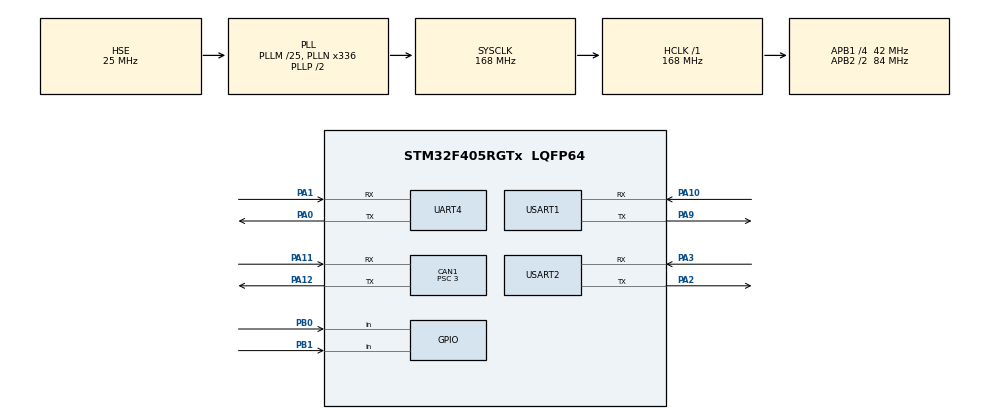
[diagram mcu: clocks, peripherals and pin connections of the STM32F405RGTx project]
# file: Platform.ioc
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CAN1.BS1=CAN_BS1_9TQ
CAN1.BS2=CAN_BS2_4TQ
CAN1.CalculateTimeQuantum=71.42857142857143
CAN1.Prescaler=3
Dma.Request0=USART1_RX
Dma.Request1=USART1_TX
Dma.Request2=UART4_RX
Dma.Request3=UART4_TX
Dma.Request4=USART2_RX
Dma.Request5=USART2_TX
Dma.UART4_RX.2.Direction=DMA_PERIPH_TO_MEMORY
Dma.UART4_RX.2.FIFOMode=DMA_FIFOMODE_DISABLE
Dma.UART4_RX.2.Instance=DMA1_Stream2
Dma.UART4_RX.2.MemDataAlignment=DMA_MDATAALIGN_BYTE
Dma.UART4_RX.2.MemInc=DMA_MINC_ENABLE
Dma.UART4_RX.2.Mode=DMA_NORMAL
Dma.UART4_RX.2.PeriphDataAlignment=DMA_PDATAALIGN_BYTE
Dma.UART4_RX.2.PeriphInc=DMA_PINC_DISABLE
Dma.UART4_RX.2.Priority=DMA_PRIORITY_LOW
Dma.UART4_TX.3.Direction=DMA_MEMORY_TO_PERIPH
Dma.UART4_TX.3.FIFOMode=DMA_FIFOMODE_DISABLE
Dma.UART4_TX.3.Instance=DMA1_Stream4
Dma.UART4_TX.3.MemDataAlignment=DMA_MDATAALIGN_BYTE
Dma.UART4_TX.3.MemInc=DMA_MINC_ENABLE
Dma.UART4_TX.3.Mode=DMA_NORMAL
Dma.UART4_TX.3.PeriphDataAlignment=DMA_PDATAALIGN_BYTE
Dma.UART4_TX.3.PeriphInc=DMA_PINC_DISABLE
Dma.UART4_TX.3.Priority=DMA_PRIORITY_LOW
Dma.USART1_RX.0.Direction=DMA_PERIPH_TO_MEMORY
Dma.USART1_RX.0.FIFOMode=DMA_FIFOMODE_DISABLE
Dma.USART1_RX.0.Instance=DMA2_Stream2
Dma.USART1_RX.0.MemDataAlignment=DMA_MDATAALIGN_BYTE
Dma.USART1_RX.0.MemInc=DMA_MINC_ENABLE
Dma.USART1_RX.0.Mode=DMA_NORMAL
Dma.USART1_RX.0.PeriphDataAlignment=DMA_PDATAALIGN_BYTE
Dma.USART1_RX.0.PeriphInc=DMA_PINC_DISABLE
Dma.USART1_RX.0.Priority=DMA_PRIORITY_LOW
Dma.USART1_TX.1.Direction=DMA_MEMORY_TO_PERIPH
Dma.USART1_TX.1.FIFOMode=DMA_FIFOMODE_DISABLE
Dma.USART1_TX.1.Instance=DMA2_Stream7
Dma.USART1_TX.1.MemDataAlignment=DMA_MDATAALIGN_BYTE
Dma.USART1_TX.1.MemInc=DMA_MINC_ENABLE
Dma.USART1_TX.1.Mode=DMA_NORMAL
Dma.USART1_TX.1.PeriphDataAlignment=DMA_PDATAALIGN_BYTE
Dma.USART1_TX.1.PeriphInc=DMA_PINC_DISABLE
Dma.USART1_TX.1.Priority=DMA_PRIORITY_LOW
Dma.USART2_RX.4.Direction=DMA_PERIPH_TO_MEMORY
Dma.USART2_RX.4.FIFOMode=DMA_FIFOMODE_DISABLE
Dma.USART2_RX.4.Instance=DMA1_Stream5
Dma.USART2_RX.4.MemDataAlignment=DMA_MDATAALIGN_BYTE
Dma.USART2_RX.4.MemInc=DMA_MINC_ENABLE
Dma.USART2_RX.4.Mode=DMA_CIRCULAR
Dma.USART2_RX.4.PeriphDataAlignment=DMA_PDATAALIGN_BYTE
Dma.USART2_RX.4.PeriphInc=DMA_PINC_DISABLE
Dma.USART2_RX.4.Priority=DMA_PRIORITY_LOW
Dma.USART2_TX.5.Direction=DMA_MEMORY_TO_PERIPH
Dma.USART2_TX.5.FIFOMode=DMA_FIFOMODE_DISABLE
Dma.USART2_TX.5.Instance=DMA1_Stream6
Dma.USART2_TX.5.MemDataAlignment=DMA_MDATAALIGN_BYTE
Dma.USART2_TX.5.MemInc=DMA_MINC_ENABLE
Dma.USART2_TX.5.Mode=DMA_CIRCULAR
Dma.USART2_TX.5.PeriphDataAlignment=DMA_PDATAALIGN_BYTE
Dma.USART2_TX.5.PeriphInc=DMA_PINC_DISABLE
Dma.USART2_TX.5.Priority=DMA_PRIORITY_LOW
FREERTOS.Queues01=myQueue01,16,uint16_t,0,Dynamic,NULL,NULL
FREERTOS.Tasks01=defaultTask,0,128,StartDefaultTask,Default,NULL,Dynamic,NULL,NULL;myTask02,-3,128,StartTask02,Default,NULL,Dynamic,NULL,NULL;myTask03,-3,128,StartTask03,Default,NULL,Dynamic,NULL,NULL;myTask04,-3,128,StartTask04,Default,NULL,Dynamic,NULL,NULL
Mcu.Family=STM32F4
Mcu.Name=STM32F405RGTx
Mcu.Package=LQFP64
NVIC.CAN1_RX0_IRQn=true\:5\:0\:false\:false\:true\:true\:true
NVIC.DMA1_Stream2_IRQn=true\:5\:0\:false\:false\:true\:true\:false
NVIC.DMA1_Stream4_IRQn=true\:5\:0\:false\:false\:true\:true\:false
NVIC.DMA1_Stream5_IRQn=true\:5\:0\:false\:false\:true\:true\:false
NVIC.DMA1_Stream6_IRQn=true\:5\:0\:false\:false\:true\:true\:false
NVIC.DMA2_Stream2_IRQn=true\:5\:0\:false\:false\:true\:true\:false
NVIC.DMA2_Stream7_IRQn=true\:5\:0\:false\:false\:true\:true\:false
NVIC.PriorityGroup=NVIC_PRIORITYGROUP_4
NVIC.TIM1_UP_TIM10_IRQn=true\:0\:0\:false\:false\:true\:false\:false
NVIC.TimeBase=TIM1_UP_TIM10_IRQn
NVIC.TimeBaseIP=TIM1
NVIC.UART4_IRQn=true\:5\:0\:false\:false\:true\:true\:true
NVIC.USART1_IRQn=true\:5\:0\:false\:false\:true\:true\:true
NVIC.USART2_IRQn=true\:5\:0\:false\:false\:true\:true\:true
PA0-WKUP.Mode=Asynchronous
PA0-WKUP.Signal=UART4_TX
PA1.Mode=Asynchronous
PA1.Signal=UART4_RX
PA10.Mode=Asynchronous
PA10.Signal=USART1_RX
PA11.Mode=Master
PA11.Signal=CAN1_RX
PA12.Mode=Master
PA12.Signal=CAN1_TX
PA2.Mode=Asynchronous
PA2.Signal=USART2_TX
PA3.Mode=Asynchronous
PA3.Signal=USART2_RX
PA9.Mode=Asynchronous
PA9.Signal=USART1_TX
PB0.Signal=GPIO_Input
PB1.Signal=GPIO_Input
PH0-OSC_IN.Mode=HSE-External-Oscillator
PH0-OSC_IN.Signal=RCC_OSC_IN
PH1-OSC_OUT.Mode=HSE-External-Oscillator
PH1-OSC_OUT.Signal=RCC_OSC_OUT
ProjectManager.HeapSize=0x200
ProjectManager.StackSize=0x400
ProjectManager.TargetToolchain=MDK-ARM V5
RCC.48MHZClocksFreq_Value=84000000
RCC.AHBFreq_Value=168000000
RCC.APB1CLKDivider=RCC_HCLK_DIV4
RCC.APB1Freq_Value=42000000
RCC.APB1TimFreq_Value=84000000
RCC.APB2CLKDivider=RCC_HCLK_DIV2
RCC.APB2Freq_Value=84000000
RCC.APB2TimFreq_Value=168000000
RCC.CortexFreq_Value=168000000
RCC.HCLKFreq_Value=168000000
RCC.HSE_VALUE=25000000
RCC.HSI_VALUE=16000000
RCC.LSE_VALUE=32768
RCC.PLLM=25
RCC.PLLN=336
RCC.PLLSourceVirtual=RCC_PLLSOURCE_HSE
RCC.SYSCLKFreq_VALUE=168000000
RCC.SYSCLKSource=RCC_SYSCLKSOURCE_PLLCLK
RCC.VCOOutputFreq_Value=336000000
UART4.VirtualMode=Asynchronous
USART1.VirtualMode=VM_ASYNC
USART2.VirtualMode=VM_ASYNC
VP_FREERTOS_VS_ENABLE.Mode=Enabled
VP_SYS_VS_tim1.Mode=TIM1
board=custom

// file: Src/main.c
/* USER CODE BEGIN Header */
/**
  ******************************************************************************
  * @file           : main.c
  * @brief          : Main program body
  ******************************************************************************
  * This notice applies to any and all portions of this file
  * that are not between comment pairs USER CODE BEGIN and
  * USER CODE END. Other portions of this file, whether
  * inserted by the user or by software development tools
  * are owned by their respective copyright owners.
  *
  * Copyright (c) 2019 STMicroelectronics International N.V.
  * All rights reserved.
  *
  * Redistribution and use in source and binary forms, with or without
  * modification, are permitted, provided that the following conditions are met:
  *
  * 1. Redistribution of source code must retain the above copyright notice,
  *    this list of conditions and the following disclaimer.
  * 2. Redistributions in binary form must reproduce the above copyright notice,
  *    this list of conditions and the following disclaimer in the documentation
  *    and/or other materials provided with the distribution.
  * 3. Neither the name of STMicroelectronics nor the names of other
  *    contributors to this software may be used to endorse or promote products
  *    derived from this software without specific written permission.
  * 4. This software, including modifications and/or derivative works of this
  *    software, must execute solely and exclusively on microcontroller or
  *    microprocessor devices manufactured by or for STMicroelectronics.
  * 5. Redistribution and use of this software other than as permitted under
  *    this license is void and will automatically terminate your rights under
  *    this license.
  *
  * THIS SOFTWARE IS PROVIDED BY STMICROELECTRONICS AND CONTRIBUTORS "AS IS"
  * AND ANY EXPRESS, IMPLIED OR STATUTORY WARRANTIES, INCLUDING, BUT NOT
  * LIMITED TO, THE IMPLIED WARRANTIES OF MERCHANTABILITY, FITNESS FOR A
  * PARTICULAR PURPOSE AND NON-INFRINGEMENT OF THIRD PARTY INTELLECTUAL PROPERTY
  * RIGHTS ARE DISCLAIMED TO THE FULLEST EXTENT PERMITTED BY LAW. IN NO EVENT
  * SHALL STMICROELECTRONICS OR CONTRIBUTORS BE LIABLE FOR ANY DIRECT, INDIRECT,
  * INCIDENTAL, SPECIAL, EXEMPLARY, OR CONSEQUENTIAL DAMAGES (INCLUDING, BUT NOT
  * LIMITED TO, PROCUREMENT OF SUBSTITUTE GOODS OR SERVICES; LOSS OF USE, DATA,
  * OR PROFITS; OR BUSINESS INTERRUPTION) HOWEVER CAUSED AND ON ANY THEORY OF
  * LIABILITY, WHETHER IN CONTRACT, STRICT LIABILITY, OR TORT (INCLUDING
  * NEGLIGENCE OR OTHERWISE) ARISING IN ANY WAY OUT OF THE USE OF THIS SOFTWARE,
  * EVEN IF ADVISED OF THE POSSIBILITY OF SUCH DAMAGE.
  *
  ******************************************************************************
  */
/* USER CODE END Header */

#include "main.h"
#include "cmsis_os.h"

/* USER CODE BEGIN Includes */
#include "CAN.h"
#include "GCS_Debug.h"
#include "PID.h"
#include "drv_dr16.h"
#include "dr_16.h"
/* USER CODE END Includes */

/* USER CODE BEGIN PM */
moto_measure_t motor[3];
extern int16_t speed_set;
float total_angle_ini,total_angle_now;//分别设角度初始值，当前值，以及期望转到多少度
float total_angle_set;
uint8_t shoot_mode;//连发15次，mode=1隔3秒，mode=2隔5秒

extern dr_16 dr_control;
extern float debug_Kp,debug_Ki,debug_Kd;
pid_t pid[3];
uint16_t remote_data;
#define BUFFER_SIZE  100	//额外
#include <string.h>  //额外
volatile uint8_t rx_len = 0;     //额外
volatile uint8_t recv_end_flag = 0;  		//额外
uint8_t rx_buffer[100]={0},rx_buffer2[100]={0};   //额?
/* USER CODE END PM */

CAN_HandleTypeDef hcan1;

UART_HandleTypeDef huart4;
UART_HandleTypeDef huart1;
UART_HandleTypeDef huart2;
DMA_HandleTypeDef hdma_uart4_rx;
DMA_HandleTypeDef hdma_uart4_tx;
DMA_HandleTypeDef hdma_usart1_rx;
DMA_HandleTypeDef hdma_usart1_tx;
DMA_HandleTypeDef hdma_usart2_rx;
DMA_HandleTypeDef hdma_usart2_tx;

osThreadId defaultTaskHandle;
osThreadId myTask02Handle;
osThreadId myTask03Handle;
osThreadId myTask04Handle;
osMessageQId myQueue01Handle;

void SystemClock_Config(void);
static void MX_GPIO_Init(void);
static void MX_DMA_Init(void);
static void MX_CAN1_Init(void);
static void MX_USART1_UART_Init(void);
static void MX_USART2_UART_Init(void);
static void MX_UART4_Init(void);
void StartDefaultTask(void const * argument);
void StartTask02(void const * argument);
void StartTask03(void const * argument);
void StartTask04(void const * argument);

int main(void)
{

  /* MCU Configuration--------------------------------------------------------*/

  /* Reset of all peripherals, Initializes the Flash interface and the Systick. */
  HAL_Init();

  /* Configure the system clock */
  SystemClock_Config();

  /* Initialize all configured peripherals */
  MX_GPIO_Init();
  MX_DMA_Init();
  MX_CAN1_Init();
  MX_USART1_UART_Init();
  MX_USART2_UART_Init();
  MX_UART4_Init();
  /* USER CODE BEGIN 2 */
	dr16_uart_init(&huart2);
	my_can_filter_init_recv_all(&hcan1);

  /* USER CODE END 2 */

  /* Create the thread(s) */
  /* definition and creation of defaultTask */
  osThreadDef(defaultTask, StartDefaultTask, osPriorityNormal, 0, 128);
  defaultTaskHandle = osThreadCreate(osThread(defaultTask), NULL);

  /* definition and creation of myTask02 */
  osThreadDef(myTask02, StartTask02, osPriorityNormal, 0, 128);
  myTask02Handle = osThreadCreate(osThread(myTask02), NULL);

  /* definition and creation of myTask03 */
  osThreadDef(myTask03, StartTask03, osPriorityNormal, 0, 128);
  myTask03Handle = osThreadCreate(osThread(myTask03), NULL);

  /* definition and creation of myTask04 */
  osThreadDef(myTask04, StartTask04, osPriorityNormal, 0, 128);
  myTask04Handle = osThreadCreate(osThread(myTask04), NULL);

  /* Create the queue(s) */
  /* definition and creation of myQueue01 */
  osMessageQDef(myQueue01, 16, uint16_t);
  myQueue01Handle = osMessageCreate(osMessageQ(myQueue01), NULL);

  /* Start scheduler */
  osKernelStart();

  /* We should never get here as control is now taken by the scheduler */

  /* Infinite loop */
  while (1)
  {

  }
}

void SystemClock_Config(void)
{
  RCC_OscInitTypeDef RCC_OscInitStruct = {0};
  RCC_ClkInitTypeDef RCC_ClkInitStruct = {0};

  /**Configure the main internal regulator output voltage
  */
  __HAL_RCC_PWR_CLK_ENABLE();
  __HAL_PWR_VOLTAGESCALING_CONFIG(PWR_REGULATOR_VOLTAGE_SCALE1);
  /**Initializes the CPU, AHB and APB busses clocks
  */
  RCC_OscInitStruct.OscillatorType = RCC_OSCILLATORTYPE_HSE;
  RCC_OscInitStruct.HSEState = RCC_HSE_ON;
  RCC_OscInitStruct.PLL.PLLState = RCC_PLL_ON;
  RCC_OscInitStruct.PLL.PLLSource = RCC_PLLSOURCE_HSE;
  RCC_OscInitStruct.PLL.PLLM = 25;
  RCC_OscInitStruct.PLL.PLLN = 336;
  RCC_OscInitStruct.PLL.PLLP = RCC_PLLP_DIV2;
  RCC_OscInitStruct.PLL.PLLQ = 4;
  if (HAL_RCC_OscConfig(&RCC_OscInitStruct) != HAL_OK)
  {
    Error_Handler();
  }
  /**Initializes the CPU, AHB and APB busses clocks
  */
  RCC_ClkInitStruct.ClockType = RCC_CLOCKTYPE_HCLK|RCC_CLOCKTYPE_SYSCLK
                              |RCC_CLOCKTYPE_PCLK1|RCC_CLOCKTYPE_PCLK2;
  RCC_ClkInitStruct.SYSCLKSource = RCC_SYSCLKSOURCE_PLLCLK;
  RCC_ClkInitStruct.AHBCLKDivider = RCC_SYSCLK_DIV1;
  RCC_ClkInitStruct.APB1CLKDivider = RCC_HCLK_DIV4;
  RCC_ClkInitStruct.APB2CLKDivider = RCC_HCLK_DIV2;

  if (HAL_RCC_ClockConfig(&RCC_ClkInitStruct, FLASH_LATENCY_5) != HAL_OK)
  {
    Error_Handler();
  }
}

static void MX_CAN1_Init(void)
{

  hcan1.Instance = CAN1;
  hcan1.Init.Prescaler = 3;
  hcan1.Init.Mode = CAN_MODE_NORMAL;
  hcan1.Init.SyncJumpWidth = CAN_SJW_1TQ;
  hcan1.Init.TimeSeg1 = CAN_BS1_9TQ;
  hcan1.Init.TimeSeg2 = CAN_BS2_4TQ;
  hcan1.Init.TimeTriggeredMode = DISABLE;
  hcan1.Init.AutoBusOff = DISABLE;
  hcan1.Init.AutoWakeUp = DISABLE;
  hcan1.Init.AutoRetransmission = DISABLE;
  hcan1.Init.ReceiveFifoLocked = DISABLE;
  hcan1.Init.TransmitFifoPriority = DISABLE;
  if (HAL_CAN_Init(&hcan1) != HAL_OK)
  {
    Error_Handler();
  }

}

static void MX_UART4_Init(void)
{

  huart4.Instance = UART4;
  huart4.Init.BaudRate = 115200;
  huart4.Init.WordLength = UART_WORDLENGTH_8B;
  huart4.Init.StopBits = UART_STOPBITS_1;
  huart4.Init.Parity = UART_PARITY_NONE;
  huart4.Init.Mode = UART_MODE_TX_RX;
  huart4.Init.HwFlowCtl = UART_HWCONTROL_NONE;
  huart4.Init.OverSampling = UART_OVERSAMPLING_16;
  if (HAL_UART_Init(&huart4) != HAL_OK)
  {
    Error_Handler();
  }

}

static void MX_USART1_UART_Init(void)
{

  huart1.Instance = USART1;
  huart1.Init.BaudRate = 115200;
  huart1.Init.WordLength = UART_WORDLENGTH_8B;
  huart1.Init.StopBits = UART_STOPBITS_1;
  huart1.Init.Parity = UART_PARITY_NONE;
  huart1.Init.Mode = UART_MODE_TX_RX;
  huart1.Init.HwFlowCtl = UART_HWCONTROL_NONE;
  huart1.Init.OverSampling = UART_OVERSAMPLING_16;
  if (HAL_UART_Init(&huart1) != HAL_OK)
  {
    Error_Handler();
  }
  /* USER CODE BEGIN USART1_Init 2 */
__HAL_UART_ENABLE_IT(&huart1, UART_IT_IDLE);          //额外
	HAL_UART_Receive_DMA(&huart1,rx_buffer,BUFFER_SIZE);
	__HAL_UART_ENABLE_IT(&huart1,UART_IT_RXNE);
  /* USER CODE END USART1_Init 2 */

}

static void MX_USART2_UART_Init(void)
{

  huart2.Instance = USART2;
  huart2.Init.BaudRate = 115200;
  huart2.Init.WordLength = UART_WORDLENGTH_8B;
  huart2.Init.StopBits = UART_STOPBITS_1;
  huart2.Init.Parity = UART_PARITY_NONE;
  huart2.Init.Mode = UART_MODE_TX_RX;
  huart2.Init.HwFlowCtl = UART_HWCONTROL_NONE;
  huart2.Init.OverSampling = UART_OVERSAMPLING_16;
  if (HAL_UART_Init(&huart2) != HAL_OK)
  {
    Error_Handler();
  }

}

static void MX_DMA_Init(void)
{
  /* DMA controller clock enable */
  __HAL_RCC_DMA2_CLK_ENABLE();
  __HAL_RCC_DMA1_CLK_ENABLE();

  /* DMA interrupt init */
  /* DMA1_Stream2_IRQn interrupt configuration */
  HAL_NVIC_SetPriority(DMA1_Stream2_IRQn, 5, 0);
  HAL_NVIC_EnableIRQ(DMA1_Stream2_IRQn);
  /* DMA1_Stream4_IRQn interrupt configuration */
  HAL_NVIC_SetPriority(DMA1_Stream4_IRQn, 5, 0);
  HAL_NVIC_EnableIRQ(DMA1_Stream4_IRQn);
  /* DMA1_Stream5_IRQn interrupt configuration */
  HAL_NVIC_SetPriority(DMA1_Stream5_IRQn, 5, 0);
  HAL_NVIC_EnableIRQ(DMA1_Stream5_IRQn);
  /* DMA1_Stream6_IRQn interrupt configuration */
  HAL_NVIC_SetPriority(DMA1_Stream6_IRQn, 5, 0);
  HAL_NVIC_EnableIRQ(DMA1_Stream6_IRQn);
  /* DMA2_Stream2_IRQn interrupt configuration */
  HAL_NVIC_SetPriority(DMA2_Stream2_IRQn, 5, 0);
  HAL_NVIC_EnableIRQ(DMA2_Stream2_IRQn);
  /* DMA2_Stream7_IRQn interrupt configuration */
  HAL_NVIC_SetPriority(DMA2_Stream7_IRQn, 5, 0);
  HAL_NVIC_EnableIRQ(DMA2_Stream7_IRQn);

}

static void MX_GPIO_Init(void)
{
  GPIO_InitTypeDef GPIO_InitStruct = {0};

  /* GPIO Ports Clock Enable */
  __HAL_RCC_GPIOH_CLK_ENABLE();
  __HAL_RCC_GPIOA_CLK_ENABLE();
  __HAL_RCC_GPIOB_CLK_ENABLE();

  /*Configure GPIO pins : PB0 PB1 */
  GPIO_InitStruct.Pin = GPIO_PIN_0|GPIO_PIN_1;
  GPIO_InitStruct.Mode = GPIO_MODE_INPUT;
  GPIO_InitStruct.Pull = GPIO_NOPULL;
  HAL_GPIO_Init(GPIOB, &GPIO_InitStruct);

}

void StartDefaultTask(void const * argument)
{

  for(;;)
  {
    osDelay(1);
  }
}

void StartTask02(void const * argument)
{
  /* USER CODE BEGIN StartTask02 */
  /* Infinite loop */
  for(;;)
  {
    osDelay(10);
		Sent_Contorl(&huart1);
		remote_data = dr_control.s2;
  }
  /* USER CODE END StartTask02 */
}

/* USER CODE BEGIN Header_StartTask03 */
/**
* @brief Function implementing the myTask03 thread.
* @param argument: Not used
* @retval None
*/
	#define PB1 HAL_GPIO_ReadPin(GPIOB,GPIO_PIN_1)
uint8_t a;
int16_t out_middle;
uint8_t flag_shoot;
uint8_t continue_flag = 1;
/* USER CODE END Header_StartTask03 */
void StartTask03(void const * argument)
{
  /* USER CODE BEGIN StartTask03 */
	speed_set = 0;
	flag_shoot = 0;
	out_middle = 0;
	int16_t out_left,out_right;
	pid_param_init(&pid[0],5000,50,0,0,0);//两个3508电机pid的初始化
	pid_param_init(&pid[1],5000,50,0,0,0);//两个3508电机pid的初始化
	pid_param_init(&pid[2],3500,50,10,0,0);

	debug_Kp = 50;

	total_angle_set = 20000;
  /* Infinite loop */
  for(;;)
  {
    osDelay(1);
		pid_param_init(&pid[0],6000,500,debug_Kp,debug_Ki,debug_Kd);//两个3508电机pid的初始化
		pid_param_init(&pid[1],6000,500,debug_Kp,debug_Ki,debug_Kd);//两个3508电机pid的初始化
		out_right = pid_calc(&pid[0],motor[0].real_current,speed_set);
		out_left = pid_calc(&pid[1],motor[1].real_current,-speed_set);

		get_total_angle(&motor[2]);
		total_angle_now = motor[2].total_angle;
		//拨弹电机
		/*flag_shoot
		0：就绪状态
		1：发射状态
		2：回拉状态
		flag_init：是否已经发射过一次，且未清零
		1:已发射出去过
		*/
		a = PB1;
		switch(continue_flag)
		{
			case 0:
				break;
			case 1:
				flag_shoot = 0;
			total_angle_ini = total_angle_now;
			break;
			case 3:
				if(flag_shoot == 0)

					flag_shoot = 1;
				break;
			case 4:
				break;
		}
		switch(flag_shoot)
		{
			case 0:
				//可以再加上保护状态
				if((total_angle_ini -total_angle_now) > 1000)
					out_middle = pid_calc(&pid[2],motor[2].real_current,1500);
				break;
			case 1:
				if((total_angle_ini - total_angle_now)<total_angle_set)
				{
					out_middle = pid_calc(&pid[2],motor[2].real_current,-1500);
				}
				else
				{
					flag_shoot = 2;
				}
				break;
			case 2:
				if(!PB1)
				{
					out_middle = pid_calc(&pid[2],motor[2].real_current,1500);
				}
				else
				{
					out_middle = 0;
					flag_shoot = 3;
				}
				break;
			case 3:
				break;
		}

		set_moto_current(&hcan1,out_right,out_left,out_middle,0);
  }
  /* USER CODE END StartTask03 */
}

void StartTask04(void const * argument)
{
  /* USER CODE BEGIN StartTask04 */
	int time = 0;
  /* Infinite loop */
  for(;;)
  {
		//遥控代码，弹射装置没用上。
		osDelay(10);
		if((shoot_mode == 2)&&(time<15)){
    osDelay(1000);
		continue_flag = 3;
		osDelay(4000);
		continue_flag = 1;
		time++;}
		else if((shoot_mode == 1)&&(time<15)){
		osDelay(1000);
		continue_flag = 3;
		osDelay(2000);
		continue_flag = 1;
		time++;}
		else if(shoot_mode == 0)
			time = 0;
  }
  /* USER CODE END StartTask04 */
}

void HAL_TIM_PeriodElapsedCallback(TIM_HandleTypeDef *htim)
{
  if (htim->Instance == TIM1) {
    HAL_IncTick();
  }
}

void Error_Handler(void)
{
}

/************************ (C) COPYRIGHT STMicroelectronics *****END OF FILE****/
